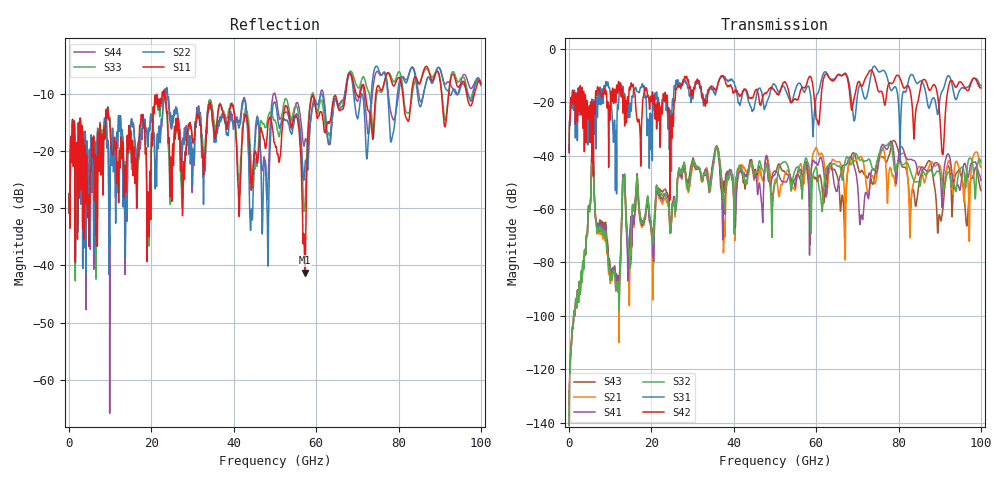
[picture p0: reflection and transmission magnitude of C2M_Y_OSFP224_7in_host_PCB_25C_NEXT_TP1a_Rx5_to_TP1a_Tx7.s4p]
# GHz S RI R 45
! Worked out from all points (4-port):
!   4000 points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, 25 MHz to 100 GHz, reference 45 ohm
!   strongest paths, dB at 25 MHz, 25.02 GHz, 50.02 GHz, 75.03 GHz, 100 GHz:
!     S42: -38.8, -30.3, -16.0, -15.6, -14.6
!     S31: -38.9, -21.7, -13.6, -8.3, -13.8
!     S32: -141.1, -59.6, -50.5, -40.5, -42.5
!     S41: -137.1, -59.4, -45.7, -44.0, -49.2
!     S21: -140.8, -59.8, -49.2, -44.0, -44.3
!     S43: -133.3, -59.0, -47.0, -41.1, -53.0
!   lowest |S11| = -41.2 dB at 57.35 GHz (marker M1), VSWR 1.02, Z = 45 - j0.781 ohm
!   |S11| at or under -10 dB: start of sweep to 22.6 GHz; 23.18 GHz to 67.17 GHz (43.99 GHz wide, 97.4 % of centre); 71.94 GHz to 74.52 GHz (2.571 GHz wide, 3.51 % of centre) (the widest 3 of 8)
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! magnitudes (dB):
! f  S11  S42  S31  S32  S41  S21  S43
! 25 MHz  -30.7  -38.8  -38.9  -141.1  -137.1  -140.8  -133.3
! 5.7 GHz  -19.8  -20.8  -21.6  -39.4  -39.2  -39.4  -39.1
! 11.95 GHz  -24.2  -13.0  -22.8  -87.2  -86.5  -88.7  -85.0
! 13.3 GHz  -26.7  -17.7  -18.6  -49.3  -49.0  -49.3  -49.1
! 14.7 GHz  -18.4  -14.3  -25.8  -78.7  -70.6  -87.7  -71.3
! 57.35 GHz  -41.2  -14.5  -15.6  -41.4  -42.8  -44.5  -42.2
! 100 GHz  -8.3  -14.6  -13.8  -42.5  -49.2  -44.3  -53.0
